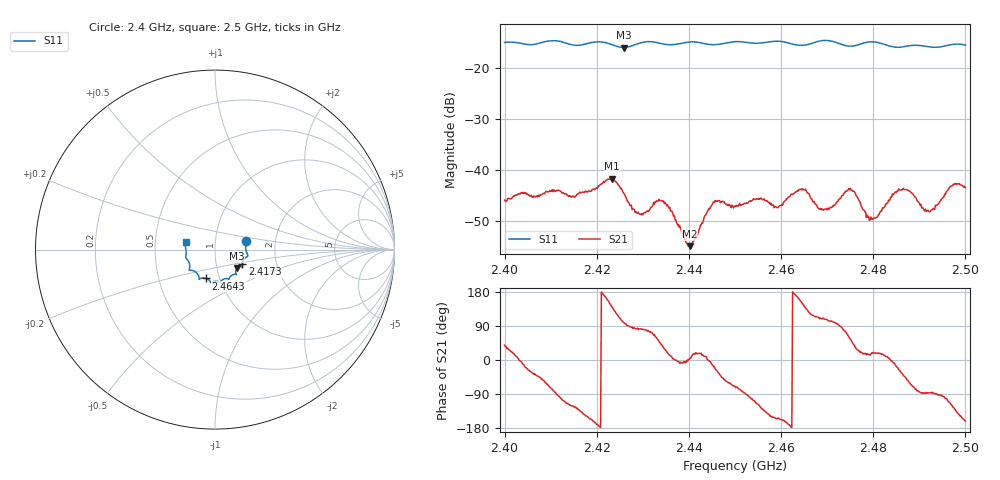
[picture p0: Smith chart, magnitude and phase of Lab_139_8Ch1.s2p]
# Hz S RI R 50
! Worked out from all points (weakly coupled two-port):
!   601 points, 2.4 GHz to 2.5 GHz, reference 50 ohm
!   highest |S21| = -41.70 dB at 2.4233 GHz (marker M1); lowest = -55.0 dB at 2.4402 GHz (marker M2)
!   lowest |S11| = -15.9 dB at 2.4258 GHz (marker M3), VSWR 1.38, Z = 62.4 - j13.3 ohm
!   |S11| at or under -10 dB: start of sweep to end of sweep
!   S12 and S22 are empty: the file has one direction only
!   S11 on the Smith chart (normalised r, x): 2.4 GHz: 1.41, +0.14; 2.4173 GHz: 1.34, -0.23; 2.4643 GHz: 0.86, -0.28; 2.5 GHz: 0.72, +0.06
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2.4e9  0.1732 0.0489  0.00393 0.00318  0 0  0 0
2.416667e9  0.1527 -0.0744  -0.00441 -0.00405  0 0  0 0
2.417333e9  0.1519 -0.082  -0.00485 -0.00353  0 0  0 0
2.423333e9  0.1429 -0.0937  -0.00628 0.0053  0 0  0 0
2.425833e9  0.1222 -0.1035  -0.000948 0.00585  0 0  0 0
2.429167e9  0.1159 -0.1326  0.000548 0.00366  0 0  0 0
2.433333e9  0.1127 -0.1377  0.00296 0.00394  0 0  0 0
2.435833e9  0.0951 -0.1418  0.0042 0.000884  0 0  0 0
2.440167e9  0.0788 -0.1638  0.00177 0.000114  0 0  0 0
2.4455e9  0.0517 -0.1629  0.00456 -0.00144  0 0  0 0
2.45e9  0.0286 -0.1808  0.00155 -0.00414  0 0  0 0
2.459e9  -0.0224 -0.1838  -0.00389 -0.00184  0 0  0 0
2.464333e9  -0.0502 -0.1605  -0.00576 0.00275  0 0  0 0
2.466667e9  -0.076 -0.1591  -0.00252 0.0045  0 0  0 0
2.47e9  -0.0883 -0.1659  -0.00116 0.00387  0 0  0 0
2.475167e9  -0.1078 -0.1251  0.00382 0.0051  0 0  0 0
2.479667e9  -0.1431 -0.1138  0.00309 0.00104  0 0  0 0
2.483333e9  -0.1407 -0.0896  0.00501 0.000509  0 0  0 0
2.487e9  -0.1549 -0.0556  0.00447 -0.00458  0 0  0 0
2.492e9  -0.1611 -0.0256  0.000224 -0.00393  0 0  0 0
2.497167e9  -0.1696 0.0279  -0.00364 -0.00593  0 0  0 0
2.5e9  -0.1638 0.0428  -0.00633 -0.00213  0 0  0 0
